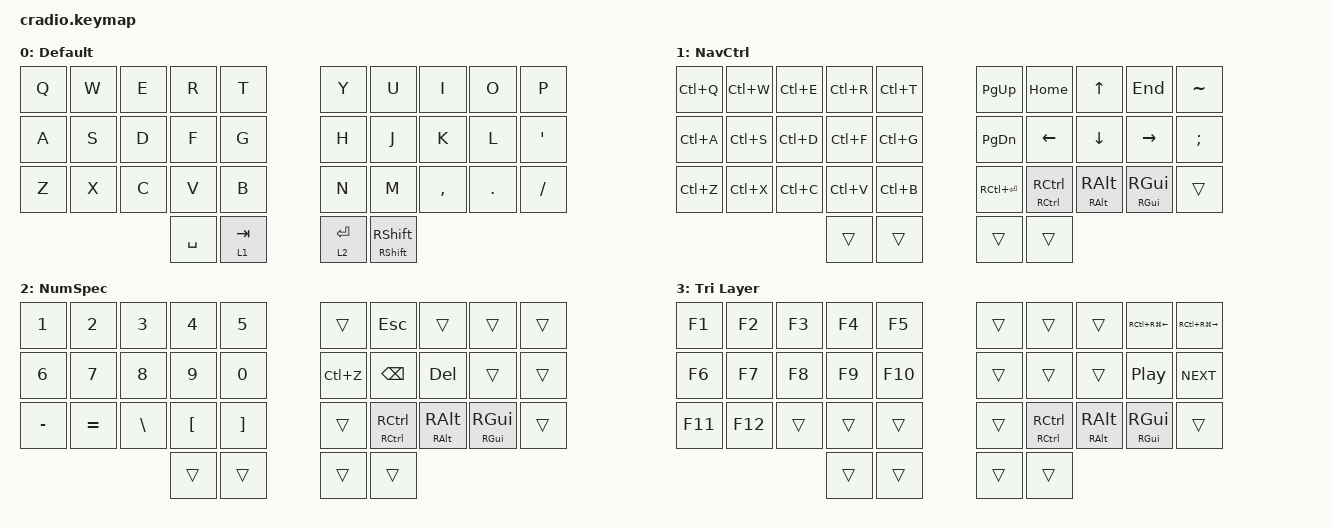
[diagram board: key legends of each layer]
// Copyright (c) 2022 The ZMK Contributors
// SPDX-License-Identifier: MIT

#include <behaviors.dtsi>
#include <dt-bindings/zmk/keys.h>

&sk {
    release-after-ms = <3000>;
};

/ {
    behaviors {
        osm: one_shot_mod {
            compatible = "zmk,behavior-hold-tap";
            #binding-cells = <2>;
            flavor = "balanced";
            tapping-term-ms = <200>;
            bindings = <&kp>, <&sk>;
            hold-while-undecided-linger;
        };
    };

    combos {
        compatible = "zmk,combos";

        combo_bootloader {
            timeout-ms = <100>;
            key-positions = <10 19>;
            bindings = <&bootloader>;
            layers = <3>;
        };

        combo_sys_reset {
            timeout-ms = <100>;
            key-positions = <0 9>;
            bindings = <&sys_reset>;
            layers = <3>;
        };
    };

    conditional_layers {
        compatible = "zmk,conditional-layers";

        tri_layer {
            if-layers = <1 2>;
            then-layer = <3>;
        };
    };

    keymap {
        compatible = "zmk,keymap";

        default {
            display-name = "Default";
            bindings = <
&kp Q         &kp W         &kp E          &kp R             &kp T                 &kp Y              &kp U              &kp I           &kp O             &kp P
&kp A         &kp S         &kp D          &kp F             &kp G                 &kp H              &kp J              &kp K           &kp L             &kp APOS
&kp Z         &kp X         &kp C          &kp V             &kp B                 &kp N              &kp M              &kp COMMA       &kp DOT           &kp FSLH
                                           &kp SPACE         &lt 1 TAB             &lt 2 ENTER        &osm RSHIFT RSHIFT
            >;
        };

        navctrl {
            display-name = "NavCtrl";
            bindings = <
&kp LC(Q)     &kp LC(W)     &kp LC(E)      &kp LC(R)         &kp LC(T)             &kp PG_UP          &kp HOME           &kp UP          &kp END           &kp TILDE
&kp LC(A)     &kp LC(S)     &kp LC(D)      &kp LC(F)         &kp LC(G)             &kp PG_DN          &kp LEFT           &kp DOWN        &kp RIGHT         &kp SEMI
&kp LC(Z)     &kp LC(X)     &kp LC(C)      &kp LC(V)         &kp LC(B)             &kp RC(ENTER)      &osm RCTRL RCTRL   &osm RALT RALT  &osm RGUI RGUI    &trans
                                           &trans            &trans                &trans             &trans
            >;
        };

        numspec {
            display-name = "NumSpec";
            bindings = <
&kp NUMBER_1  &kp NUMBER_2  &kp NUMBER_3   &kp NUMBER_4      &kp NUMBER_5          &trans             &kp ESC            &trans          &trans            &trans
&kp NUMBER_6  &kp NUMBER_7  &kp NUMBER_8   &kp NUMBER_9      &kp NUMBER_0          &kp LC(Z)          &kp BSPC           &kp DEL         &trans            &trans
&kp MINUS     &kp EQUAL     &kp BACKSLASH  &kp LEFT_BRACKET  &kp RIGHT_BRACKET     &trans             &osm RCTRL RCTRL   &osm RALT RALT  &osm RGUI RGUI    &trans
                                           &trans            &trans                &trans             &trans
            >;
        };

        tri_layer {
            display-name = "Tri Layer";
            bindings = <
&kp F1        &kp F2        &kp F3         &kp F4            &kp F5                &trans             &trans             &trans          &kp RC(RG(LEFT))  &kp RC(RG(RIGHT))
&kp F6        &kp F7        &kp F8         &kp F9            &kp F10               &trans             &trans             &trans          &kp C_PP          &kp C_NEXT
&kp F11       &kp F12       &trans         &trans            &trans                &trans             &osm RCTRL RCTRL   &osm RALT RALT  &osm RGUI RGUI    &trans
                                           &trans            &trans                &trans             &trans
            >;
        };
    };
};
